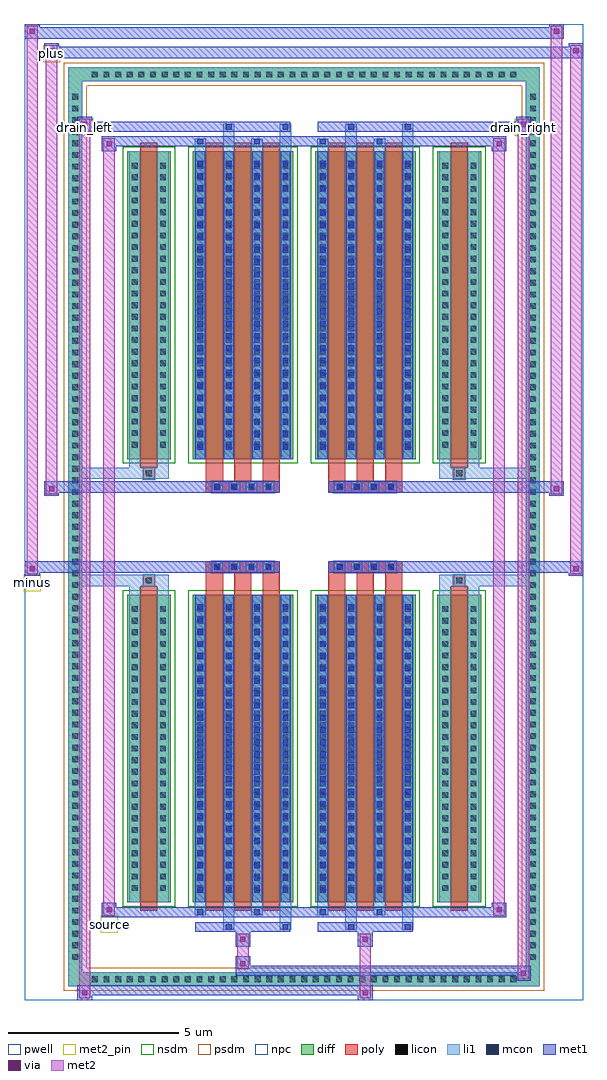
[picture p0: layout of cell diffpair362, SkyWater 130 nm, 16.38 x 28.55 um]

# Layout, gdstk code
import gdstk
lib = gdstk.Library(unit=1e-6, precision=5e-09)
def R(c, l, rs):  # rectangles x0, y0, x1, y1
    for r in rs: c.add(gdstk.rectangle(r[:2], r[2:], *l))
def A(c, l, x, y, w, h, nx, ny, dx, dy):  # array of equal rectangles
    R(c, l, [(x+i*dx, y+j*dy, x+i*dx+w, y+j*dy+h) for i in range(nx) for j in range(ny)])
def P(c, l, *ps):  # polygons
    for p in ps: c.add(gdstk.Polygon(p, *l))
pwell = (64, 44)
diff = (65, 20)
poly = (66, 20)
licon = (66, 44)
li1 = (67, 20)
mcon = (67, 44)
met1 = (68, 20)
via = (68, 44)
met2_pin = (69, 16)
met2 = (69, 20)
nsdm = (93, 44)
psdm = (94, 20)
npc = (95, 20)

diffpair362 = lib.new_cell('diffpair362')
R(diffpair362, pwell, [(-8.17,-13.84,8.17,14.71), (-5.49,-12.03,-0.01,-0.805), (0.01,-12.03,5.49,-0.805), (-5.49,0.805,-0.01,12.03), (0.01,0.805,5.49,12.03)])
A(diffpair362, diff, -6.325, -13.44, 0.41, 0.41, 37, 2, 0.34, 26.47)
A(diffpair362, diff, -6.9, -12.785, 0.41, 0.41, 1, 75, 0, 0.34)
A(diffpair362, diff, 6.49, -12.785, 0.41, 0.41, 1, 75, 0, 0.34)
R(diffpair362, diff, [(-6.325,-13.44,6.325,-13.03), (-6.9,-12.785,-6.49,12.785), (6.49,-12.785,6.9,12.785), (-5.18,-10.985,-3.9,-1.985), (-3.26,-10.985,-0.32,-1.985), (0.32,-10.985,3.26,-1.985), (3.9,-10.985,5.18,-1.985), (-5.18,1.985,-3.9,10.985), (-3.26,1.985,-0.32,10.985), (0.32,1.985,3.26,10.985), (3.9,1.985,5.18,10.985), (-6.325,13.03,6.325,13.44)])
P(diffpair362, diff, [(6.9,13.44),(-6.9,13.44),(-6.9,-13.03),(-6.49,-13.03),(-6.49,13.03),(6.49,13.03),(6.49,-13.03),(-6.49,-13.03),(-6.9,-13.03),(-6.9,-13.44),(6.9,-13.44)])
A(diffpair362, poly, -2.87, -11.235, 0.5, 9.5, 3, 2, 0.83, 12.97)
A(diffpair362, poly, 0.71, -11.235, 0.5, 9.5, 3, 2, 0.83, 12.97)
A(diffpair362, poly, -2.87, -1.735, 0.5, 0.4, 3, 2, 0.83, 3.07)
A(diffpair362, poly, 0.71, -1.735, 0.5, 0.4, 3, 2, 0.83, 3.07)
A(diffpair362, poly, -2.705, -1.335, 0.33, 0.33, 4, 2, 0.5, 2.34)
A(diffpair362, poly, 0.875, -1.335, 0.33, 0.33, 4, 2, 0.5, 2.34)
R(diffpair362, poly, [(-4.79,-11.235,-4.29,-1.735), (4.29,-11.235,4.79,-1.735), (-4.705,-1.735,-4.375,-1.405), (-4.705,-1.735,-4.375,-1.405), (4.375,-1.735,4.705,-1.405), (4.375,-1.735,4.705,-1.405), (-2.87,-1.335,-0.71,-1.005), (0.71,-1.335,2.87,-1.005), (-2.87,1.005,-0.71,1.335), (0.71,1.005,2.87,1.335), (-4.705,1.405,-4.375,1.735), (-4.705,1.405,-4.375,1.735), (4.375,1.405,4.705,1.735), (4.375,1.405,4.705,1.735), (-4.79,1.735,-4.29,11.235), (4.29,1.735,4.79,11.235)])
A(diffpair362, licon, -6.205, -13.32, 0.17, 0.17, 37, 2, 0.34, 26.47)
A(diffpair362, licon, -6.78, -12.665, 0.17, 0.17, 1, 75, 0, 0.34)
A(diffpair362, licon, 6.61, -12.665, 0.17, 0.17, 1, 75, 0, 0.34)
A(diffpair362, licon, -5.04, -10.65, 0.17, 0.17, 1, 25, 0, 0.34)
A(diffpair362, licon, -4.21, -10.65, 0.17, 0.17, 1, 25, 0, 0.34)
A(diffpair362, licon, -3.12, -10.65, 0.17, 0.17, 4, 25, 0.83, 0.34)
A(diffpair362, licon, 0.46, -10.65, 0.17, 0.17, 4, 25, 0.83, 0.34)
A(diffpair362, licon, 4.04, -10.65, 0.17, 0.17, 1, 25, 0, 0.34)
A(diffpair362, licon, 4.87, -10.65, 0.17, 0.17, 1, 25, 0, 0.34)
A(diffpair362, licon, -2.625, -1.255, 0.17, 0.17, 4, 2, 0.5, 2.34)
A(diffpair362, licon, 0.955, -1.255, 0.17, 0.17, 4, 2, 0.5, 2.34)
A(diffpair362, licon, -5.04, 2.32, 0.17, 0.17, 1, 25, 0, 0.34)
A(diffpair362, licon, -4.21, 2.32, 0.17, 0.17, 1, 25, 0, 0.34)
A(diffpair362, licon, -3.12, 2.32, 0.17, 0.17, 4, 25, 0.83, 0.34)
A(diffpair362, licon, 0.46, 2.32, 0.17, 0.17, 4, 25, 0.83, 0.34)
A(diffpair362, licon, 4.04, 2.32, 0.17, 0.17, 1, 25, 0, 0.34)
A(diffpair362, licon, 4.87, 2.32, 0.17, 0.17, 1, 25, 0, 0.34)
R(diffpair362, licon, [(-4.625,-1.655,-4.455,-1.485), (4.455,-1.655,4.625,-1.485), (-4.625,1.485,-4.455,1.655), (4.455,1.485,4.625,1.655)])
A(diffpair362, li1, -6.285, -13.4, 0.33, 0.33, 37, 2, 0.34, 26.47)
A(diffpair362, li1, -6.86, -12.745, 0.33, 0.33, 1, 75, 0, 0.34)
A(diffpair362, li1, 6.53, -12.745, 0.33, 0.33, 1, 75, 0, 0.34)
A(diffpair362, li1, -3.2, -10.985, 0.33, 9, 4, 2, 0.83, 12.97)
A(diffpair362, li1, 0.38, -10.985, 0.33, 9, 4, 2, 0.83, 12.97)
A(diffpair362, li1, -5.12, -10.73, 0.33, 0.33, 1, 25, 0, 0.34)
A(diffpair362, li1, -4.29, -10.73, 0.33, 0.33, 1, 25, 0, 0.34)
A(diffpair362, li1, -3.2, -10.73, 0.33, 0.33, 4, 25, 0.83, 0.34)
A(diffpair362, li1, 0.38, -10.73, 0.33, 0.33, 4, 25, 0.83, 0.34)
A(diffpair362, li1, 3.96, -10.73, 0.33, 0.33, 1, 25, 0, 0.34)
A(diffpair362, li1, 4.79, -10.73, 0.33, 0.33, 1, 25, 0, 0.34)
A(diffpair362, li1, -3.12, -10.71, 0.17, 0.17, 4, 24, 0.83, 0.36)
A(diffpair362, li1, -3.12, -10.71, 0.17, 8.45, 4, 2, 0.83, 12.97)
A(diffpair362, li1, 0.46, -10.71, 0.17, 0.17, 4, 24, 0.83, 0.36)
A(diffpair362, li1, 0.46, -10.71, 0.17, 8.45, 4, 2, 0.83, 12.97)
A(diffpair362, li1, -2.705, -1.335, 0.33, 0.33, 4, 2, 0.5, 2.34)
A(diffpair362, li1, 0.875, -1.335, 0.33, 0.33, 4, 2, 0.5, 2.34)
A(diffpair362, li1, -5.12, 2.24, 0.33, 0.33, 1, 25, 0, 0.34)
A(diffpair362, li1, -4.29, 2.24, 0.33, 0.33, 1, 25, 0, 0.34)
A(diffpair362, li1, -3.2, 2.24, 0.33, 0.33, 4, 25, 0.83, 0.34)
A(diffpair362, li1, 0.38, 2.24, 0.33, 0.33, 4, 25, 0.83, 0.34)
A(diffpair362, li1, 3.96, 2.24, 0.33, 0.33, 1, 25, 0, 0.34)
A(diffpair362, li1, 4.79, 2.24, 0.33, 0.33, 1, 25, 0, 0.34)
A(diffpair362, li1, -3.12, 2.26, 0.17, 0.17, 4, 24, 0.83, 0.36)
A(diffpair362, li1, 0.46, 2.26, 0.17, 0.17, 4, 24, 0.83, 0.36)
R(diffpair362, li1, [(-6.9,-13.44,-6.49,-13.03), (-6.9,-13.44,-6.49,-13.03), (-6.49,-13.44,6.49,-13.03), (6.49,-13.44,6.9,-13.03), (6.49,-13.44,6.9,-13.03), (-6.9,-13.03,-6.49,13.03), (6.49,-13.03,6.9,13.03), (-2.37,-11.79,-2.04,-10.985), (-2.29,-11.79,-2.12,-11.62), (-0.71,-11.79,-0.38,-10.985), (-0.63,-11.79,-0.46,-11.62), (1.21,-11.79,1.54,-10.985), (1.29,-11.79,1.46,-11.62), (2.87,-11.79,3.2,-10.985), (2.95,-11.79,3.12,-11.62), (-3.2,-11.36,-2.87,-10.985), (-3.12,-11.36,-2.95,-11.19), (-1.54,-11.36,-1.21,-10.985), (-1.46,-11.36,-1.29,-11.19), (0.38,-11.36,0.71,-10.985), (0.46,-11.36,0.63,-11.19), (2.04,-11.36,2.37,-10.985), (2.12,-11.36,2.29,-11.19), (-5.12,-10.985,-4.79,-1.985), (-4.29,-10.985,-3.96,-1.985), (3.96,-10.985,4.29,-1.985), (4.79,-10.985,5.12,-1.985), (-5.12,-1.985,-4.79,-1.405), (-4.29,-1.985,-3.96,-1.405), (3.96,-1.985,4.29,-1.405), (4.79,-1.985,5.12,-1.405), (-6.9,-1.735,-4.705,-1.405), (-5.12,-1.735,-4.705,-1.405), (-4.705,-1.735,-4.375,-1.405), (-4.375,-1.735,-3.96,-1.405), (3.96,-1.735,4.375,-1.405), (4.375,-1.735,4.705,-1.405), (4.375,-1.735,6.9,-1.405), (4.705,-1.735,5.12,-1.405), (-6.9,1.405,-4.705,1.735), (-5.12,1.405,-4.705,1.735), (-5.12,1.405,-4.79,1.985), (-4.705,1.405,-4.375,1.735), (-4.375,1.405,-3.96,1.735), (-4.29,1.405,-3.96,1.985), (3.96,1.405,4.375,1.735), (3.96,1.405,4.29,1.985), (4.375,1.405,4.705,1.735), (4.375,1.405,6.9,1.735), (4.705,1.405,5.12,1.735), (4.79,1.405,5.12,1.985), (-5.12,1.985,-4.79,10.985), (-4.29,1.985,-3.96,10.985), (3.96,1.985,4.29,10.985), (4.79,1.985,5.12,10.985), (-3.2,10.985,-2.87,11.36), (-2.37,10.985,-2.04,11.79), (-1.54,10.985,-1.21,11.36), (-0.71,10.985,-0.38,11.79), (0.38,10.985,0.71,11.36), (1.21,10.985,1.54,11.79), (2.04,10.985,2.37,11.36), (2.87,10.985,3.2,11.79), (-3.12,11.19,-2.95,11.36), (-1.46,11.19,-1.29,11.36), (0.46,11.19,0.63,11.36), (2.12,11.19,2.29,11.36), (-2.29,11.62,-2.12,11.79), (-0.63,11.62,-0.46,11.79), (1.29,11.62,1.46,11.79), (2.95,11.62,3.12,11.79), (-6.9,13.03,-6.49,13.44), (-6.9,13.03,-6.49,13.44), (-6.49,13.03,6.49,13.44), (6.49,13.03,6.9,13.44), (6.49,13.03,6.9,13.44)])
A(diffpair362, mcon, -3.12, -10.71, 0.17, 0.17, 4, 24, 0.83, 0.36)
A(diffpair362, mcon, 0.46, -10.71, 0.17, 0.17, 4, 24, 0.83, 0.36)
A(diffpair362, mcon, -2.625, -1.255, 0.17, 0.17, 4, 2, 0.5, 2.34)
A(diffpair362, mcon, 0.955, -1.255, 0.17, 0.17, 4, 2, 0.5, 2.34)
A(diffpair362, mcon, -3.12, 2.26, 0.17, 0.17, 4, 24, 0.83, 0.36)
A(diffpair362, mcon, 0.46, 2.26, 0.17, 0.17, 4, 24, 0.83, 0.36)
R(diffpair362, mcon, [(-2.29,-11.79,-2.12,-11.62), (-0.63,-11.79,-0.46,-11.62), (1.29,-11.79,1.46,-11.62), (2.95,-11.79,3.12,-11.62), (-3.12,-11.36,-2.95,-11.19), (-1.46,-11.36,-1.29,-11.19), (0.46,-11.36,0.63,-11.19), (2.12,-11.36,2.29,-11.19), (-3.12,11.19,-2.95,11.36), (-1.46,11.19,-1.29,11.36), (0.46,11.19,0.63,11.36), (2.12,11.19,2.29,11.36), (-2.29,11.62,-2.12,11.79), (-0.63,11.62,-0.46,11.79), (1.29,11.62,1.46,11.79), (2.95,11.62,3.12,11.79)])
A(diffpair362, met1, -3.18, -10.985, 0.29, 9, 4, 2, 0.83, 12.97)
A(diffpair362, met1, 0.4, -10.985, 0.29, 9, 4, 2, 0.83, 12.97)
A(diffpair362, met1, -3.18, -10.77, 0.29, 0.29, 4, 24, 0.83, 0.36)
A(diffpair362, met1, 0.4, -10.77, 0.29, 0.29, 4, 24, 0.83, 0.36)
A(diffpair362, met1, -2.685, -1.315, 0.29, 0.29, 4, 2, 0.5, 2.34)
A(diffpair362, met1, 0.895, -1.315, 0.29, 0.29, 4, 2, 0.5, 2.34)
A(diffpair362, met1, -3.18, 2.2, 0.29, 0.29, 4, 24, 0.83, 0.36)
A(diffpair362, met1, 0.4, 2.2, 0.29, 0.29, 4, 24, 0.83, 0.36)
R(diffpair362, met1, [(-6.63,-13.84,-6.2,-13.41), (1.575,-13.84,2.005,-13.41), (-6.63,-13.7,2.005,-13.41), (6.2,-13.27,6.63,-12.84), (-2.005,-13.13,6.63,-12.84), (-2.005,-12.99,-1.575,-12.56), (-2.005,-12.28,-1.575,-11.85), (1.575,-12.28,2.005,-11.85), (-3.18,-11.85,-0.4,-11.56), (-2.35,-11.85,-2.06,-11.56), (-0.69,-11.85,-0.4,-11.56), (0.4,-11.85,3.18,-11.56), (1.23,-11.85,1.52,-11.56), (2.89,-11.85,3.18,-11.56), (-5.92,-11.42,-5.49,-10.99), (-5.92,-11.42,-3.18,-11.13), (-3.18,-11.42,-2.89,-11.13), (-3.18,-11.42,-0.4,-11.13), (-1.52,-11.42,-1.23,-11.13), (-0.4,-11.42,0.4,-11.13), (0.4,-11.42,0.69,-11.13), (0.4,-11.42,3.18,-11.13), (2.06,-11.42,2.35,-11.13), (3.18,-11.42,5.92,-11.13), (5.49,-11.42,5.92,-10.99), (-8.17,-1.435,-7.74,-1.005), (7.74,-1.435,8.17,-1.005), (-8.17,-1.335,-0.71,-1.005), (-2.87,-1.335,-0.71,-1.005), (0.71,-1.335,2.87,-1.005), (0.71,-1.335,8.17,-1.005), (-7.6,0.905,-7.17,1.335), (7.17,0.905,7.6,1.335), (-7.6,1.005,-2.87,1.335), (-2.87,1.005,-0.71,1.335), (0.71,1.005,2.87,1.335), (2.87,1.005,7.6,1.335), (-5.92,10.99,-5.49,11.42), (5.49,10.99,5.92,11.42), (-5.92,11.13,-3.18,11.42), (-3.18,11.13,-2.89,11.42), (-3.18,11.13,-0.4,11.42), (-1.52,11.13,-1.23,11.42), (-0.4,11.13,0.4,11.42), (0.4,11.13,0.69,11.42), (0.4,11.13,3.18,11.42), (2.06,11.13,2.35,11.42), (3.18,11.13,5.92,11.42), (-6.63,11.56,-6.2,11.99), (-6.63,11.56,-3.18,11.85), (-3.18,11.56,-0.4,11.85), (-2.35,11.56,-2.06,11.85), (-0.69,11.56,-0.4,11.85), (0.4,11.56,3.18,11.85), (1.23,11.56,1.52,11.85), (2.89,11.56,3.18,11.85), (3.18,11.56,6.63,11.85), (6.2,11.56,6.63,11.99), (-7.6,13.71,-7.17,14.14), (-7.6,13.71,-5.49,14.04), (-5.49,13.71,5.49,14.04), (5.49,13.71,8.17,14.04), (7.74,13.71,8.17,14.14), (-8.17,14.28,-7.74,14.71), (-8.17,14.28,-5.49,14.61), (-5.49,14.28,5.49,14.61), (5.49,14.28,7.6,14.61), (7.17,14.28,7.6,14.71)])
R(diffpair362, via, [(-6.49,-13.7,-6.34,-13.55), (1.715,-13.7,1.865,-13.55), (6.34,-13.13,6.49,-12.98), (-1.865,-12.85,-1.715,-12.7), (-1.865,-12.14,-1.715,-11.99), (1.715,-12.14,1.865,-11.99), (-5.78,-11.28,-5.63,-11.13), (5.63,-11.28,5.78,-11.13), (-8.03,-1.295,-7.88,-1.145), (7.88,-1.295,8.03,-1.145), (-7.46,1.045,-7.31,1.195), (7.31,1.045,7.46,1.195), (-5.78,11.13,-5.63,11.28), (5.63,11.13,5.78,11.28), (-6.49,11.7,-6.34,11.85), (6.34,11.7,6.49,11.85), (-7.46,13.85,-7.31,14), (7.88,13.85,8.03,14), (-8.03,14.42,-7.88,14.57), (7.31,14.42,7.46,14.57)])
R(diffpair362, met2_pin, [(-5.955,-11.87,-5.455,-11.37), (-8.205,-1.885,-7.705,-1.385), (-6.665,11.44,-6.165,11.94), (6.165,11.44,6.665,11.94), (-7.635,13.59,-7.135,14.09)])
R(diffpair362, met2, [(-6.58,-13.79,-6.25,-13.46), (-6.58,-13.79,-6.25,11.94), (1.625,-13.79,1.955,-13.46), (1.625,-13.46,1.955,-12.23), (6.25,-13.22,6.58,-12.89), (6.25,-13.22,6.58,11.94), (-1.955,-12.94,-1.625,-12.61), (-1.955,-12.61,-1.625,-12.23), (-1.955,-12.23,-1.625,-11.9), (1.625,-12.23,1.955,-11.9), (-5.87,-11.37,-5.54,-11.04), (-5.87,-11.37,-5.54,11.37), (5.54,-11.37,5.87,-11.04), (5.54,-11.37,5.87,11.37), (-8.12,-1.385,-7.79,-1.055), (-8.12,-1.385,-7.79,14.66), (7.79,-1.385,8.12,-1.055), (7.79,-1.385,8.12,14.09), (-7.55,0.955,-7.22,1.285), (-7.55,0.955,-7.22,14.09), (7.22,0.955,7.55,1.285), (7.22,0.955,7.55,14.66), (-5.87,11.04,-5.54,11.37), (5.54,11.04,5.87,11.37), (-6.58,11.61,-6.25,11.94), (6.25,11.61,6.58,11.94), (-7.55,13.76,-7.22,14.09), (7.79,13.76,8.12,14.09), (-8.12,14.33,-7.79,14.66), (7.22,14.33,7.55,14.66)])
P(diffpair362, met2, [(8.12,-1.385),(8.12,-1.385),(8.12,-1.055),(8.12,-1.055)],
  [(8.12,13.76),(8.12,13.76),(8.12,14.09),(8.12,14.09)],
  [(-7.79,-1.385),(-7.79,-1.385),(-7.79,-1.055),(-7.79,-1.055)],
  [(-7.79,14.33),(-7.79,14.33),(-7.79,14.66),(-7.79,14.66)],
  [(7.55,0.955),(7.55,0.955),(7.55,1.285),(7.55,1.285)],
  [(7.55,14.33),(7.55,14.33),(7.55,14.66),(7.55,14.66)],
  [(-7.22,0.955),(-7.22,0.955),(-7.22,1.285),(-7.22,1.285)],
  [(-7.22,13.76),(-7.22,13.76),(-7.22,14.09),(-7.22,14.09)],
  [(-6.25,-13.79),(-6.25,-13.79),(-6.25,-13.46),(-6.25,-13.46)],
  [(-6.25,11.61),(-6.25,11.61),(-6.25,11.94),(-6.25,11.94)],
  [(6.58,-13.22),(6.58,-13.22),(6.58,-12.89),(6.58,-12.89)],
  [(6.58,11.61),(6.58,11.61),(6.58,11.94),(6.58,11.94)],
  [(-5.54,-11.37),(-5.54,-11.37),(-5.54,-11.04),(-5.54,-11.04)],
  [(-5.54,11.04),(-5.54,11.04),(-5.54,11.37),(-5.54,11.37)],
  [(5.87,-11.37),(5.87,-11.37),(5.87,-11.04),(5.87,-11.04)],
  [(5.87,11.04),(5.87,11.04),(5.87,11.37),(5.87,11.37)])
R(diffpair362, nsdm, [(-5.31,-11.115,-3.77,-1.855), (-3.39,-11.115,-0.19,-1.855), (0.19,-11.115,3.39,-1.855), (3.77,-11.115,5.31,-1.855), (-5.31,1.855,-3.77,11.115), (-3.39,1.855,-0.19,11.115), (0.19,1.855,3.39,11.115), (3.77,1.855,5.31,11.115)])
P(diffpair362, psdm, [(7.03,13.57),(-7.03,13.57),(-7.03,-12.9),(-6.36,-12.9),(-6.36,12.9),(6.36,12.9),(6.36,-12.9),(-6.36,-12.9),(-7.03,-12.9),(-7.03,-13.57),(7.03,-13.57)])
A(diffpair362, npc, -2.725, -1.355, 0.37, 0.37, 4, 2, 0.5, 2.34)
A(diffpair362, npc, 0.855, -1.355, 0.37, 0.37, 4, 2, 0.5, 2.34)
R(diffpair362, npc, [(-4.725,-1.755,-4.355,-1.385), (4.355,-1.755,4.725,-1.385), (-2.725,-1.355,-1.855,-0.985), (-2.725,-1.355,-1.855,-0.985), (-2.225,-1.355,-1.355,-0.985), (-2.225,-1.355,-1.355,-0.985), (-1.725,-1.355,-0.855,-0.985), (-1.725,-1.355,-0.855,-0.985), (0.855,-1.355,1.725,-0.985), (0.855,-1.355,1.725,-0.985), (1.355,-1.355,2.225,-0.985), (1.355,-1.355,2.225,-0.985), (1.855,-1.355,2.725,-0.985), (1.855,-1.355,2.725,-0.985), (-2.725,0.985,-1.855,1.355), (-2.725,0.985,-1.855,1.355), (-2.225,0.985,-1.355,1.355), (-2.225,0.985,-1.355,1.355), (-1.725,0.985,-0.855,1.355), (-1.725,0.985,-0.855,1.355), (0.855,0.985,1.725,1.355), (0.855,0.985,1.725,1.355), (1.355,0.985,2.225,1.355), (1.355,0.985,2.225,1.355), (1.855,0.985,2.725,1.355), (1.855,0.985,2.725,1.355), (-4.725,1.385,-4.355,1.755), (4.355,1.385,4.725,1.755)])
diffpair362.add(gdstk.Label('minus', (-7.955,-1.635), layer=69, texttype=5))
diffpair362.add(gdstk.Label('drain_right', (6.415,11.69), layer=69, texttype=5))
diffpair362.add(gdstk.Label('drain_left', (-6.415,11.69), layer=69, texttype=5))
diffpair362.add(gdstk.Label('source', (-5.705,-11.62), layer=69, texttype=5))
diffpair362.add(gdstk.Label('plus', (-7.385,13.84), layer=69, texttype=5))

lib.write_gds('diffpair362.gds')
